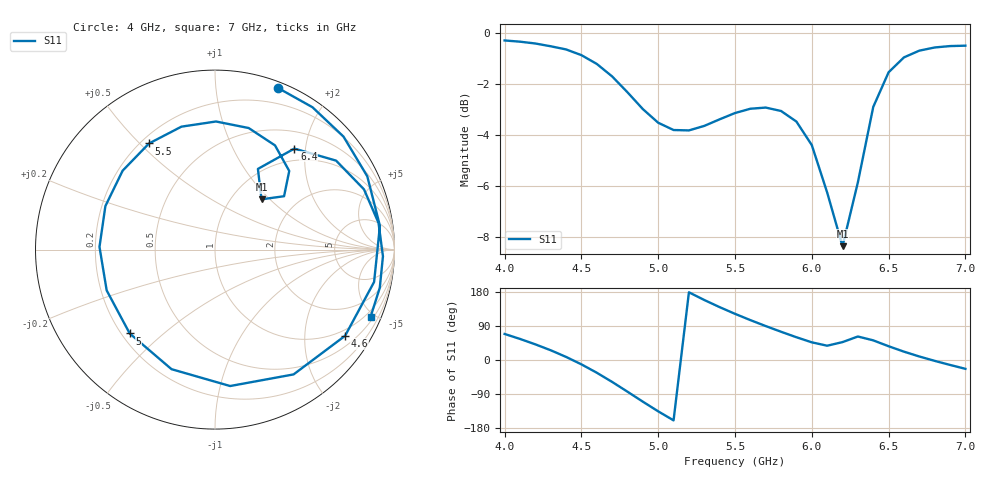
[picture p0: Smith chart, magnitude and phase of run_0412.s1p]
! Touchstone file exported from HFSS 2024.2.0
!  File:  C:/Users/wsak9/Desktop/Sim Fast/Widenad Patch/WP_AI_V1_sweep.aedt
!  Generated:  08:46:47 AM Oct 14, 2026
!  Design:  A1_model
!  Project:  WP_AI_V1_sweep
!  Setup:  Setup1
!  Solution:  Sweep
! Variables:
!  Air_gap = 4.82mm
!  Curve_Amp1 = 0.88
!  Curve_len1 = 1
!  Curve_pos = 10.23mm
!  Extra = 5.48mm
!  H_sub = 0.79mm
!  L_Patch = 16.46mm
!  L_Patch1 = 15.14mm
!  Sx = 1.39mm
!  Sy = 2.27mm
!  WS = 0.28mm
!  W_Patch = 22.54mm
!  W_Patch1 = 9.66mm
!Data is not renormalized
# GHz S MA
! Terminal data exported
! Port[1] = 1
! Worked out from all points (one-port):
!   31 points, 4 GHz to 7 GHz, reference per port
!   lowest |S11| = -8.4 dB at 6.2 GHz (marker M1), VSWR 2.23
!   |S11| at or under -10 dB: nowhere
!   S11 on the Smith chart (normalised r, x): 4 GHz: 0.05, +1.46; 4.6 GHz: 0.80, -3.13; 5 GHz: 0.23, -0.39; 5.5 GHz: 0.23, +0.53; 6.4 GHz: 0.78, +1.79; 7 GHz: 0.69, -4.76
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4  0.9666 68.7
4.2  0.9534 41.3
4.3  0.9416 25.7
4.4  0.9283 8.2
4.5  0.9045 -11.5
4.6  0.8695 -33.5
4.7  0.8217 -57.8
4.8  0.7648 -83.7
4.9  0.7089 -110.0
5  0.6665 -135.5
5.1  0.6449 -159.3
5.2  0.6438 178.7
5.3  0.657 158.3
5.5  0.6963 121.9
5.6  0.71 105.3
5.7  0.7138 89.6
5.8  0.7028 74.5
5.9  0.67 60.1
6  0.6024 46.6
6.1  0.4864 37.7
6.2  0.3816 47.2
6.3  0.5091 62.0
6.4  0.7157 51.8
6.5  0.8372 36.3
6.6  0.8954 22.0
6.7  0.9231 9.3
6.8  0.9364 -2.3
7  0.9441 -23.3
